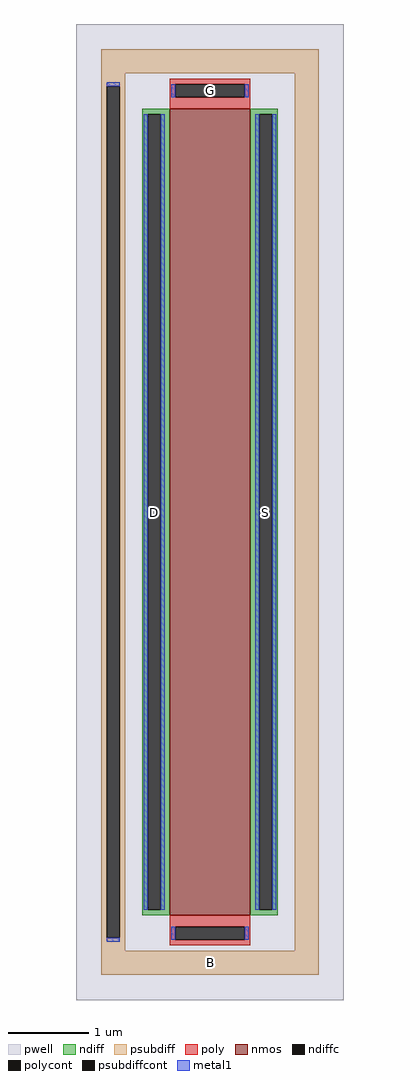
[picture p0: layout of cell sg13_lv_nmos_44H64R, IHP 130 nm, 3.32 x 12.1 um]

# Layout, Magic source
magic
tech ihp-sg13g2
<< pwell >>
rect -166 -605 166 605
<< nmos >>
rect -50 -500 50 500
<< ndiff >>
rect -84 493 -50 500
rect -84 -493 -77 493
rect -61 -493 -50 493
rect -84 -500 -50 -493
rect 50 493 84 500
rect 50 -493 61 493
rect 77 -493 84 493
rect 50 -500 84 -493
<< ndiffc >>
rect -77 -493 -61 493
rect 61 -493 77 493
<< psubdiff >>
rect -135 544 135 574
rect -135 528 -105 544
rect -135 -528 -128 528
rect -112 -528 -105 528
rect -135 -544 -105 -528
rect 105 -544 135 544
rect -135 -574 135 -544
<< psubdiffcont >>
rect -128 -528 -112 528
<< poly >>
rect -50 530 50 537
rect -50 514 -43 530
rect 43 514 50 530
rect -50 500 50 514
rect -50 -514 50 -500
rect -50 -530 -43 -514
rect 43 -530 50 -514
rect -50 -537 50 -530
<< polycont >>
rect -43 514 43 530
rect -43 -530 43 -514
<< metal1 >>
rect -128 528 -112 533
rect -48 514 -43 530
rect 43 514 48 530
rect -82 -493 -77 493
rect -61 -493 -56 493
rect 56 -493 61 493
rect 77 -493 82 493
rect -128 -533 -112 -528
rect -48 -530 -43 -514
rect 43 -530 48 -514
<< labels >>
rlabel psubdiff 0 -559 0 -559 0 B
port 1 nsew
rlabel ndiffc -69 0 -69 0 0 D
port 2 nsew
rlabel ndiffc 69 0 69 0 0 S
port 3 nsew
rlabel polycont 0 522 0 522 0 G
port 4 nsew
<< properties >>
string FIXED_BBOX -120 -559 120 559
string gencell sg13_lv_nmos
string library sg13g2
string parameters w 10 l 1 m 1 nf 1 diffcov 100 polycov 100 guard 1 glc 1 grc 0 gtc 0 gbc 0 tbcov 100 rlcov 100 topc 1 botc 1 poverlap 0 doverlap 1 lmin 0.13 wmin 0.15 class mosfet compatible {sg13_lv_nmos sg13_hv_nmos} full_metal 0 conn_gates 0 gate_ring 0 doports 1 viasrc 0 viadrn 0 viagate 0 ccols 1 viagb 0 viagr 0 viagl 0 viagt 0
<< end >>
